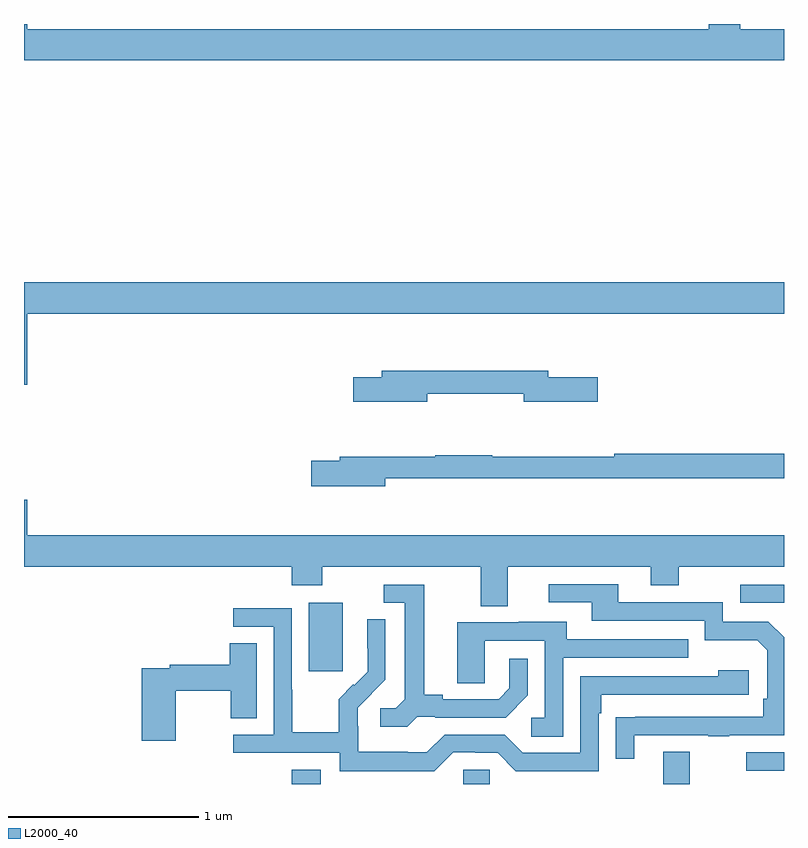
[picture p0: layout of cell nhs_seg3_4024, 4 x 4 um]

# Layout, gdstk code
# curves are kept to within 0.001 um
import gdstk
lib = gdstk.Library(unit=1e-6, precision=1e-09)
def R(c, l, rs):  # rectangles x0, y0, x1, y1
    for r in rs: c.add(gdstk.rectangle(r[:2], r[2:], *l))
def P(c, l, *ps):  # polygons
    for p in ps: c.add(gdstk.Polygon(p, *l))
L2000_40 = (2000, 40)

nhs_seg3_4024 = lib.new_cell('nhs_seg3_4024')
R(nhs_seg3_4024, L2000_40, [(322.409,738.4,322.561,738.475), (323.313,738.4,323.451,738.474), (324.365,738.4,324.505,738.571), (324.801,738.471,325,738.567), (322.499,738.993,322.678,739.354), (324.771,739.353,325,739.449)])
P(nhs_seg3_4024, L2000_40, [(325,742.372),(324.77,742.372),(324.77,742.4),(324.605,742.4),(324.605,742.372),(321.016,742.372),(321.016,742.4),(321,742.4),(321,742.208),(325,742.208)],
  [(321.016,740.876),(325,740.876),(325,741.04),(321,741.04),(321,740.502),(321.016,740.502)],
  [(323.122,740.454),(323.63,740.454),(323.63,740.411),(324.019,740.411),(324.019,740.541),(323.758,740.541),(323.758,740.575),(322.883,740.575),(322.883,740.541),(322.734,740.541),(322.734,740.411),(323.122,740.411)],
  [(322.9,740.01),(325,740.01),(325,740.138),(324.106,740.138),(324.106,740.123),(323.465,740.123),(323.465,740.131),(323.165,740.131),(323.165,740.123),(322.661,740.123),(322.661,740.102),(322.512,740.102),(322.512,739.967),(322.9,739.967)],
  [(323.545,739.544),(324.299,739.544),(324.299,739.445),(324.447,739.445),(324.447,739.544),(325,739.544),(325,739.708),(321.016,739.708),(321.016,739.897),(321,739.897),(321,739.544),(322.409,739.544),(322.409,739.445),(322.569,739.445),(322.569,739.544),(323.405,739.544),(323.405,739.336),(323.545,739.336)],
  [(324.211,738.657),(324.601,738.657),(324.601,738.652),(324.713,738.652),(324.713,738.657),(325,738.657),(325,739.172),(324.918,739.254),(324.678,739.254),(324.678,739.356),(324.127,739.356),(324.127,739.452),(323.763,739.452),(323.763,739.356),(323.987,739.356),(323.987,739.26),(324.582,739.26),(324.582,739.157),(324.859,739.157),(324.912,739.104),(324.912,738.85),(324.892,738.85),(324.892,738.753),(324.115,738.752),(324.115,738.534),(324.211,738.534)],
  [(323.07,738.753),(323.164,738.753),(323.164,738.75),(323.536,738.75),(323.652,738.866),(323.652,739.06),(323.555,739.06),(323.555,738.903),(323.498,738.846),(323.203,738.846),(323.203,738.869),(323.107,738.869),(323.107,739.449),(322.893,739.449),(322.893,739.353),(323.003,739.353),(323.003,738.845),(322.956,738.798),(322.875,738.798),(322.875,738.701),(323.018,738.701)],
  [(323.259,738.567),(323.375,738.567),(323.375,738.564),(323.493,738.564),(323.589,738.468),(324.024,738.468),(324.024,738.773),(324.037,738.773),(324.037,738.87),(324.814,738.87),(324.814,739),(324.653,739),(324.653,738.966),(323.928,738.966),(323.928,738.564),(323.625,738.564),(323.529,738.66),(323.214,738.66),(323.121,738.567),(323.021,738.567),(323.021,738.571),(322.758,738.571),(322.758,738.705),(322.756,738.705),(322.756,738.802),(322.902,738.95),(322.902,739.268),(322.806,739.268),(322.806,739.114),(322.808,739.114),(322.808,738.992),(322.737,738.921),(322.734,738.924),(322.657,738.847),(322.657,738.673),(322.413,738.673),(322.413,738.896),(322.41,738.896),(322.41,739.326),(322.101,739.326),(322.101,739.227),(322.314,739.227),(322.314,738.66),(322.101,738.66),(322.101,738.564),(322.662,738.564),(322.662,738.467),(323.159,738.467)],
  [(323.838,739.065),(324.497,739.065),(324.497,739.161),(323.857,739.161),(323.857,739.255),(323.603,739.255),(323.603,739.251),(323.279,739.251),(323.279,738.931),(323.424,738.931),(323.424,739.155),(323.742,739.155),(323.742,738.75),(323.67,738.75),(323.67,738.649),(323.838,738.649)],
  [(321.798,738.892),(322.087,738.892),(322.087,738.745),(322.225,738.745),(322.225,739.142),(322.082,739.142),(322.082,739.028),(321.766,739.028),(321.766,739.008),(321.62,739.008),(321.62,738.627),(321.798,738.627)])

lib.write_gds('nhs_seg3_4024.gds')
